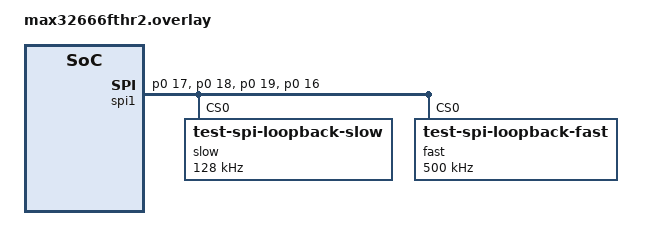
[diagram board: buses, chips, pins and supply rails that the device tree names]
/*
 * Copyright (c) 2023 Analog Devices, Inc.
 *
 * SPDX-License-Identifier: Apache-2.0
 */

#include <zephyr/dt-bindings/dma/max32666_dma.h>

&spi1 {
    status = "okay";
    pinctrl-0 = <&spi1_mosi_p0_17 &spi1_miso_p0_18 &spi1_sck_p0_19 &spi1_ss0_p0_16>;
	pinctrl-names = "default";
	dmas = <&dma0 1 MAX32_DMA_SLOT_SPI1_TX>, <&dma0 2 MAX32_DMA_SLOT_SPI1_RX>;
	dma-names = "tx", "rx";

	slow@0 {
		compatible = "test-spi-loopback-slow";
		reg = <0>;
		spi-max-frequency = <128000>;
	};
	fast@0 {
		compatible = "test-spi-loopback-fast";
		reg = <0>;
		spi-max-frequency = <500000>;
	};
};
